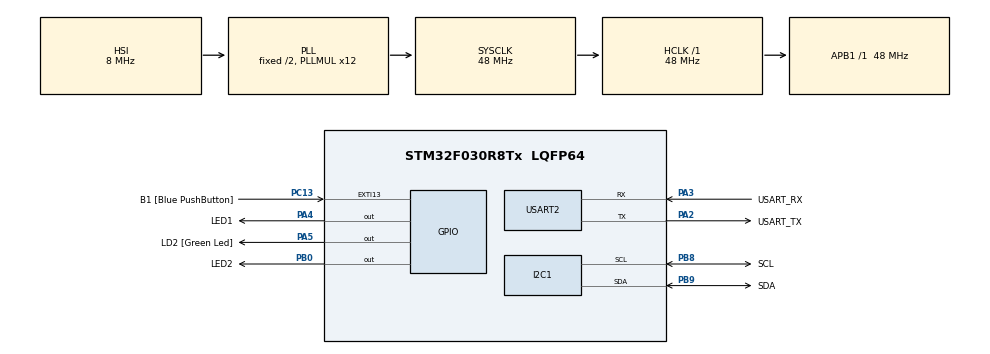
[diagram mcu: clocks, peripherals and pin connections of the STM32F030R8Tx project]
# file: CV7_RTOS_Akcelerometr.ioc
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FREERTOS.Queues01=xVisualQueue,16,uint16_t,0,Dynamic,NULL,NULL
FREERTOS.Tasks01=defaultTask,0,128,StartDefaultTask,Default,NULL,Dynamic,NULL,NULL;VisualTask,-3,128,StartVisualTask,Default,NULL,Dynamic,NULL,NULL;AcceleroTask,-3,128,StartAcceleroTask,Default,NULL,Dynamic,NULL,NULL
FREERTOS.configUSE_NEWLIB_REENTRANT=1
Mcu.Family=STM32F0
Mcu.Name=STM32F030R8Tx
Mcu.Package=LQFP64
NVIC.TIM14_IRQn=true\:3\:0\:false\:false\:true\:false\:false\:true\:true
NVIC.TimeBase=TIM14_IRQn
NVIC.TimeBaseIP=TIM14
PA13.GPIO_Label=TMS
PA13.Mode=Serial_Wire
PA13.Signal=SYS_SWDIO
PA14.GPIO_Label=TCK
PA14.Mode=Serial_Wire
PA14.Signal=SYS_SWCLK
PA2.GPIO_Label=USART_TX
PA2.GPIO_Mode=GPIO_MODE_AF_PP
PA2.GPIO_PuPd=GPIO_NOPULL
PA2.GPIO_Speed=GPIO_SPEED_FREQ_LOW
PA2.Mode=Asynchronous
PA2.Signal=USART2_TX
PA3.GPIO_Label=USART_RX
PA3.GPIO_Mode=GPIO_MODE_AF_PP
PA3.GPIO_PuPd=GPIO_NOPULL
PA3.GPIO_Speed=GPIO_SPEED_FREQ_LOW
PA3.Mode=Asynchronous
PA3.Signal=USART2_RX
PA4.GPIO_Label=LED1
PA4.Signal=GPIO_Output
PA5.GPIO_Label=LD2 [Green Led]
PA5.GPIO_Mode=GPIO_MODE_OUTPUT_PP
PA5.GPIO_PuPd=GPIO_NOPULL
PA5.GPIO_Speed=GPIO_SPEED_FREQ_LOW
PA5.Signal=GPIO_Output
PB0.GPIO_Label=LED2
PB0.Signal=GPIO_Output
PB8.GPIO_Label=SCL
PB8.Mode=I2C
PB8.Signal=I2C1_SCL
PB9.GPIO_Label=SDA
PB9.Mode=I2C
PB9.Signal=I2C1_SDA
PC13.GPIO_Label=B1 [Blue PushButton]
PC13.GPIO_ModeDefaultEXTI=GPIO_MODE_IT_FALLING
PC13.Signal=GPXTI13
PC14-OSC32_IN.Mode=LSE-External-Oscillator
PC14-OSC32_IN.Signal=RCC_OSC32_IN
PC15-OSC32_OUT.Mode=LSE-External-Oscillator
PC15-OSC32_OUT.Signal=RCC_OSC32_OUT
PF0-OSC_IN.Mode=HSE-External-Clock-Source
PF0-OSC_IN.Signal=RCC_OSC_IN
PF1-OSC_OUT.Signal=RCC_OSC_OUT
ProjectManager.HeapSize=0x200
ProjectManager.StackSize=0x400
ProjectManager.TargetToolchain=STM32CubeIDE
RCC.AHBFreq_Value=48000000
RCC.APB1Freq_Value=48000000
RCC.APB1TimFreq_Value=48000000
RCC.HCLKFreq_Value=48000000
RCC.PLLMUL=RCC_PLL_MUL12
RCC.SYSCLKFreq_VALUE=48000000
RCC.SYSCLKSource=RCC_SYSCLKSOURCE_PLLCLK
USART2.VirtualMode-Asynchronous=VM_ASYNC
VP_FREERTOS_VS_CMSIS_V1.Mode=CMSIS_V1
VP_SYS_VS_tim14.Mode=TIM14
board=NUCLEO-F030R8

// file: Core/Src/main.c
/* USER CODE BEGIN Header */
/**
  ******************************************************************************
  * @file           : main.c
  * @brief          : Main program body
  ******************************************************************************
  * @attention
  *
  * Copyright (c) 2023 STMicroelectronics.
  * All rights reserved.
  *
  * This software is licensed under terms that can be found in the LICENSE file
  * in the root directory of this software component.
  * If no LICENSE file comes with this software, it is provided AS-IS.
  *
  ******************************************************************************
  */
/* USER CODE END Header */
#include "main.h"
#include "cmsis_os.h"

/* USER CODE BEGIN Includes */
#include <stdio.h>
#include "lis2dw12_reg.h"

/* USER CODE END Includes */

I2C_HandleTypeDef hi2c1;

UART_HandleTypeDef huart2;

osThreadId defaultTaskHandle;
osThreadId VisualTaskHandle;
osThreadId AcceleroTaskHandle;
osMessageQId xVisualQueueHandle;

void SystemClock_Config(void);
static void MX_GPIO_Init(void);
static void MX_I2C1_Init(void);
static void MX_USART2_UART_Init(void);
void StartDefaultTask(void const * argument);
void StartVisualTask(void const * argument);
void StartAcceleroTask(void const * argument);

/* USER CODE BEGIN 0 */
static int32_t platform_write(void *handle, uint8_t reg, uint8_t *bufp, uint16_t len);
static int32_t platform_read(void *handle, uint8_t reg, uint8_t *bufp, uint16_t len);
static stmdev_ctx_t lis2dw12 = {
		.write_reg = platform_write,
		.read_reg = platform_read,
		.handle = &hi2c1,
};

/*
* Replace the functions "platform_write" and "platform_read" with your
* platform specific read and write function.
*/
static int32_t platform_write(void *handle, uint8_t reg, uint8_t *bufp, uint16_t len)
{
	 HAL_I2C_Mem_Write(handle, LIS2DW12_I2C_ADD_H, reg, I2C_MEMADD_SIZE_8BIT, bufp, len, 1000);
	 return 0;
}
static int32_t platform_read(void *handle, uint8_t reg, uint8_t *bufp, uint16_t len)
{
	 HAL_I2C_Mem_Read(handle, LIS2DW12_I2C_ADD_H, reg, I2C_MEMADD_SIZE_8BIT, bufp, len, 1000);
	 return 0;
}

#define RX_BUFFER_LEN 64
#define CMD_BUFFER_LEN 256
static uint8_t uart_rx_buf[RX_BUFFER_LEN];
static volatile uint16_t uart_rx_read_ptr = 0;

int _write(int file, char const *buf, int n)
{
 /* stdout redirection to UART2 */
 HAL_UART_Transmit(&huart2, (uint8_t*)(buf), n, HAL_MAX_DELAY);
 return n;
}

/* USER CODE END 0 */

int main(void)
{

  /* MCU Configuration--------------------------------------------------------*/

  /* Reset of all peripherals, Initializes the Flash interface and the Systick. */
  HAL_Init();

  /* Configure the system clock */
  SystemClock_Config();

  /* Initialize all configured peripherals */
  MX_GPIO_Init();
  MX_I2C1_Init();
  MX_USART2_UART_Init();
  /* USER CODE BEGIN 2 */
  lis2dw12_full_scale_set(&lis2dw12, LIS2DW12_2g);
  lis2dw12_power_mode_set(&lis2dw12, LIS2DW12_CONT_LOW_PWR_LOW_NOISE_2);
  lis2dw12_block_data_update_set(&lis2dw12, PROPERTY_ENABLE);
  lis2dw12_fifo_mode_set(&lis2dw12, LIS2DW12_STREAM_MODE); // enable continuous FIFO
  lis2dw12_data_rate_set(&lis2dw12, LIS2DW12_XL_ODR_25Hz); // enable part from power-down
/*
  uint8_t samples;
  int16_t raw_acceleration[3];
  lis2dw12_fifo_data_level_get(&lis2dw12, &samples);

  for (uint8_t i = 0; i < samples; i++) {
	  // Read acceleration data
	  lis2dw12_acceleration_raw_get(&lis2dw12, raw_acceleration);
	  printf("X=%d Y=%d Z=%d\n", raw_acceleration[0], raw_acceleration[1], raw_acceleration[2]);
  }
*/

  /* USER CODE END 2 */

  /* Create the queue(s) */
  /* definition and creation of xVisualQueue */
  osMessageQDef(xVisualQueue, 16, uint16_t);
  xVisualQueueHandle = osMessageCreate(osMessageQ(xVisualQueue), NULL);

  /* Create the thread(s) */
  /* definition and creation of defaultTask */
  osThreadDef(defaultTask, StartDefaultTask, osPriorityNormal, 0, 128);
  defaultTaskHandle = osThreadCreate(osThread(defaultTask), NULL);

  /* definition and creation of VisualTask */
  osThreadDef(VisualTask, StartVisualTask, osPriorityIdle, 0, 128);
  VisualTaskHandle = osThreadCreate(osThread(VisualTask), NULL);

  /* definition and creation of AcceleroTask */
  osThreadDef(AcceleroTask, StartAcceleroTask, osPriorityIdle, 0, 128);
  AcceleroTaskHandle = osThreadCreate(osThread(AcceleroTask), NULL);

  /* Start scheduler */
  osKernelStart();

  /* We should never get here as control is now taken by the scheduler */
  /* Infinite loop */
  /* USER CODE BEGIN WHILE */

  HAL_UART_Receive_DMA(&huart2, uart_rx_buf, RX_BUFFER_LEN);

  //printf("\nZkouska");

  while (1)
  {
    /* USER CODE END WHILE */

}
}

void SystemClock_Config(void)
{
  RCC_OscInitTypeDef RCC_OscInitStruct = {0};
  RCC_ClkInitTypeDef RCC_ClkInitStruct = {0};
  RCC_PeriphCLKInitTypeDef PeriphClkInit = {0};

  /** Initializes the RCC Oscillators according to the specified parameters
  * in the RCC_OscInitTypeDef structure.
  */
  RCC_OscInitStruct.OscillatorType = RCC_OSCILLATORTYPE_HSI;
  RCC_OscInitStruct.HSIState = RCC_HSI_ON;
  RCC_OscInitStruct.HSICalibrationValue = RCC_HSICALIBRATION_DEFAULT;
  RCC_OscInitStruct.PLL.PLLState = RCC_PLL_ON;
  RCC_OscInitStruct.PLL.PLLSource = RCC_PLLSOURCE_HSI;
  RCC_OscInitStruct.PLL.PLLMUL = RCC_PLL_MUL12;
  RCC_OscInitStruct.PLL.PREDIV = RCC_PREDIV_DIV1;
  if (HAL_RCC_OscConfig(&RCC_OscInitStruct) != HAL_OK)
  {
    Error_Handler();
  }

  /** Initializes the CPU, AHB and APB buses clocks
  */
  RCC_ClkInitStruct.ClockType = RCC_CLOCKTYPE_HCLK|RCC_CLOCKTYPE_SYSCLK
                              |RCC_CLOCKTYPE_PCLK1;
  RCC_ClkInitStruct.SYSCLKSource = RCC_SYSCLKSOURCE_PLLCLK;
  RCC_ClkInitStruct.AHBCLKDivider = RCC_SYSCLK_DIV1;
  RCC_ClkInitStruct.APB1CLKDivider = RCC_HCLK_DIV1;

  if (HAL_RCC_ClockConfig(&RCC_ClkInitStruct, FLASH_LATENCY_1) != HAL_OK)
  {
    Error_Handler();
  }
  PeriphClkInit.PeriphClockSelection = RCC_PERIPHCLK_I2C1;
  PeriphClkInit.I2c1ClockSelection = RCC_I2C1CLKSOURCE_HSI;
  if (HAL_RCCEx_PeriphCLKConfig(&PeriphClkInit) != HAL_OK)
  {
    Error_Handler();
  }
}

static void MX_I2C1_Init(void)
{

  hi2c1.Instance = I2C1;
  hi2c1.Init.Timing = 0x2000090E;
  hi2c1.Init.OwnAddress1 = 0;
  hi2c1.Init.AddressingMode = I2C_ADDRESSINGMODE_7BIT;
  hi2c1.Init.DualAddressMode = I2C_DUALADDRESS_DISABLE;
  hi2c1.Init.OwnAddress2 = 0;
  hi2c1.Init.OwnAddress2Masks = I2C_OA2_NOMASK;
  hi2c1.Init.GeneralCallMode = I2C_GENERALCALL_DISABLE;
  hi2c1.Init.NoStretchMode = I2C_NOSTRETCH_DISABLE;
  if (HAL_I2C_Init(&hi2c1) != HAL_OK)
  {
    Error_Handler();
  }

  /** Configure Analogue filter
  */
  if (HAL_I2CEx_ConfigAnalogFilter(&hi2c1, I2C_ANALOGFILTER_ENABLE) != HAL_OK)
  {
    Error_Handler();
  }

  /** Configure Digital filter
  */
  if (HAL_I2CEx_ConfigDigitalFilter(&hi2c1, 0) != HAL_OK)
  {
    Error_Handler();
  }

}

static void MX_USART2_UART_Init(void)
{

  huart2.Instance = USART2;
  huart2.Init.BaudRate = 38400;
  huart2.Init.WordLength = UART_WORDLENGTH_8B;
  huart2.Init.StopBits = UART_STOPBITS_1;
  huart2.Init.Parity = UART_PARITY_NONE;
  huart2.Init.Mode = UART_MODE_TX_RX;
  huart2.Init.HwFlowCtl = UART_HWCONTROL_NONE;
  huart2.Init.OverSampling = UART_OVERSAMPLING_16;
  huart2.Init.OneBitSampling = UART_ONE_BIT_SAMPLE_DISABLE;
  huart2.AdvancedInit.AdvFeatureInit = UART_ADVFEATURE_NO_INIT;
  if (HAL_UART_Init(&huart2) != HAL_OK)
  {
    Error_Handler();
  }

}

static void MX_GPIO_Init(void)
{
  GPIO_InitTypeDef GPIO_InitStruct = {0};

  /* GPIO Ports Clock Enable */
  __HAL_RCC_GPIOC_CLK_ENABLE();
  __HAL_RCC_GPIOF_CLK_ENABLE();
  __HAL_RCC_GPIOA_CLK_ENABLE();
  __HAL_RCC_GPIOB_CLK_ENABLE();

  /*Configure GPIO pin Output Level */
  HAL_GPIO_WritePin(GPIOA, LED1_Pin|LD2_Pin, GPIO_PIN_RESET);

  /*Configure GPIO pin Output Level */
  HAL_GPIO_WritePin(LED2_GPIO_Port, LED2_Pin, GPIO_PIN_RESET);

  /*Configure GPIO pin : B1_Pin */
  GPIO_InitStruct.Pin = B1_Pin;
  GPIO_InitStruct.Mode = GPIO_MODE_IT_FALLING;
  GPIO_InitStruct.Pull = GPIO_NOPULL;
  HAL_GPIO_Init(B1_GPIO_Port, &GPIO_InitStruct);

  /*Configure GPIO pins : LED1_Pin LD2_Pin */
  GPIO_InitStruct.Pin = LED1_Pin|LD2_Pin;
  GPIO_InitStruct.Mode = GPIO_MODE_OUTPUT_PP;
  GPIO_InitStruct.Pull = GPIO_NOPULL;
  GPIO_InitStruct.Speed = GPIO_SPEED_FREQ_LOW;
  HAL_GPIO_Init(GPIOA, &GPIO_InitStruct);

  /*Configure GPIO pin : LED2_Pin */
  GPIO_InitStruct.Pin = LED2_Pin;
  GPIO_InitStruct.Mode = GPIO_MODE_OUTPUT_PP;
  GPIO_InitStruct.Pull = GPIO_NOPULL;
  GPIO_InitStruct.Speed = GPIO_SPEED_FREQ_LOW;
  HAL_GPIO_Init(LED2_GPIO_Port, &GPIO_InitStruct);

}

void StartDefaultTask(void const * argument)
{
  for(;;)
  {
    osDelay(1);
  }
}

void StartVisualTask(void const * argument)
{
  /* USER CODE BEGIN StartVisualTask */
  /* Infinite loop */
  for(;;)
  {
	  int16_t msg;

	  if (xQueueReceive(xVisualQueueHandle, &msg, portMAX_DELAY)) {
		  if (msg <= -1000) {
			  HAL_GPIO_WritePin(LED1_GPIO_Port, LED1_Pin, 1);
			  HAL_GPIO_WritePin(LED2_GPIO_Port, LED2_Pin, 0);
		  }
		  if (msg >= 1000) {
			  HAL_GPIO_WritePin(LED1_GPIO_Port, LED1_Pin, 0);
			  HAL_GPIO_WritePin(LED2_GPIO_Port, LED2_Pin, 1);
		  }
		  if (msg > -1000 && msg < 1000) {
			  HAL_GPIO_WritePin(LED1_GPIO_Port, LED1_Pin, 0);
			  HAL_GPIO_WritePin(LED2_GPIO_Port, LED2_Pin, 0);
		  }
	  }
	  //printf("\n%d", msg);

	  //osDelay(1);
  }
  /* USER CODE END StartVisualTask */
}

void StartAcceleroTask(void const * argument)
{
	/* USER CODE BEGIN StartAcceleroTask */
	// Check device ID
	uint8_t whoamI = 0;
	lis2dw12_device_id_get(&lis2dw12, &whoamI);
	printf("LIS2DW12_ID %s\n", (whoamI == LIS2DW12_ID) ? "OK" : "FAIL");

	/* Infinite loop */
	for(;;)
	{
		uint8_t samples;
		int16_t raw_acceleration[3];
		lis2dw12_fifo_data_level_get(&lis2dw12, &samples);
		for (uint8_t i = 0; i < samples; i++) {
			// Read acceleration data
			lis2dw12_acceleration_raw_get(&lis2dw12, raw_acceleration);
			printf("X=%d Y=%d Z=%d\n", raw_acceleration[0], raw_acceleration[1], raw_acceleration[2]);
		}
		osDelay(100);
		xQueueSend(xVisualQueueHandle, &raw_acceleration[0], 0);
	}
  /* USER CODE END StartAcceleroTask */
}

void HAL_TIM_PeriodElapsedCallback(TIM_HandleTypeDef *htim)
{
  if (htim->Instance == TIM14) {
    HAL_IncTick();
  }
}

void Error_Handler(void)
{
  __disable_irq();
  while (1)
  {
  }
}
